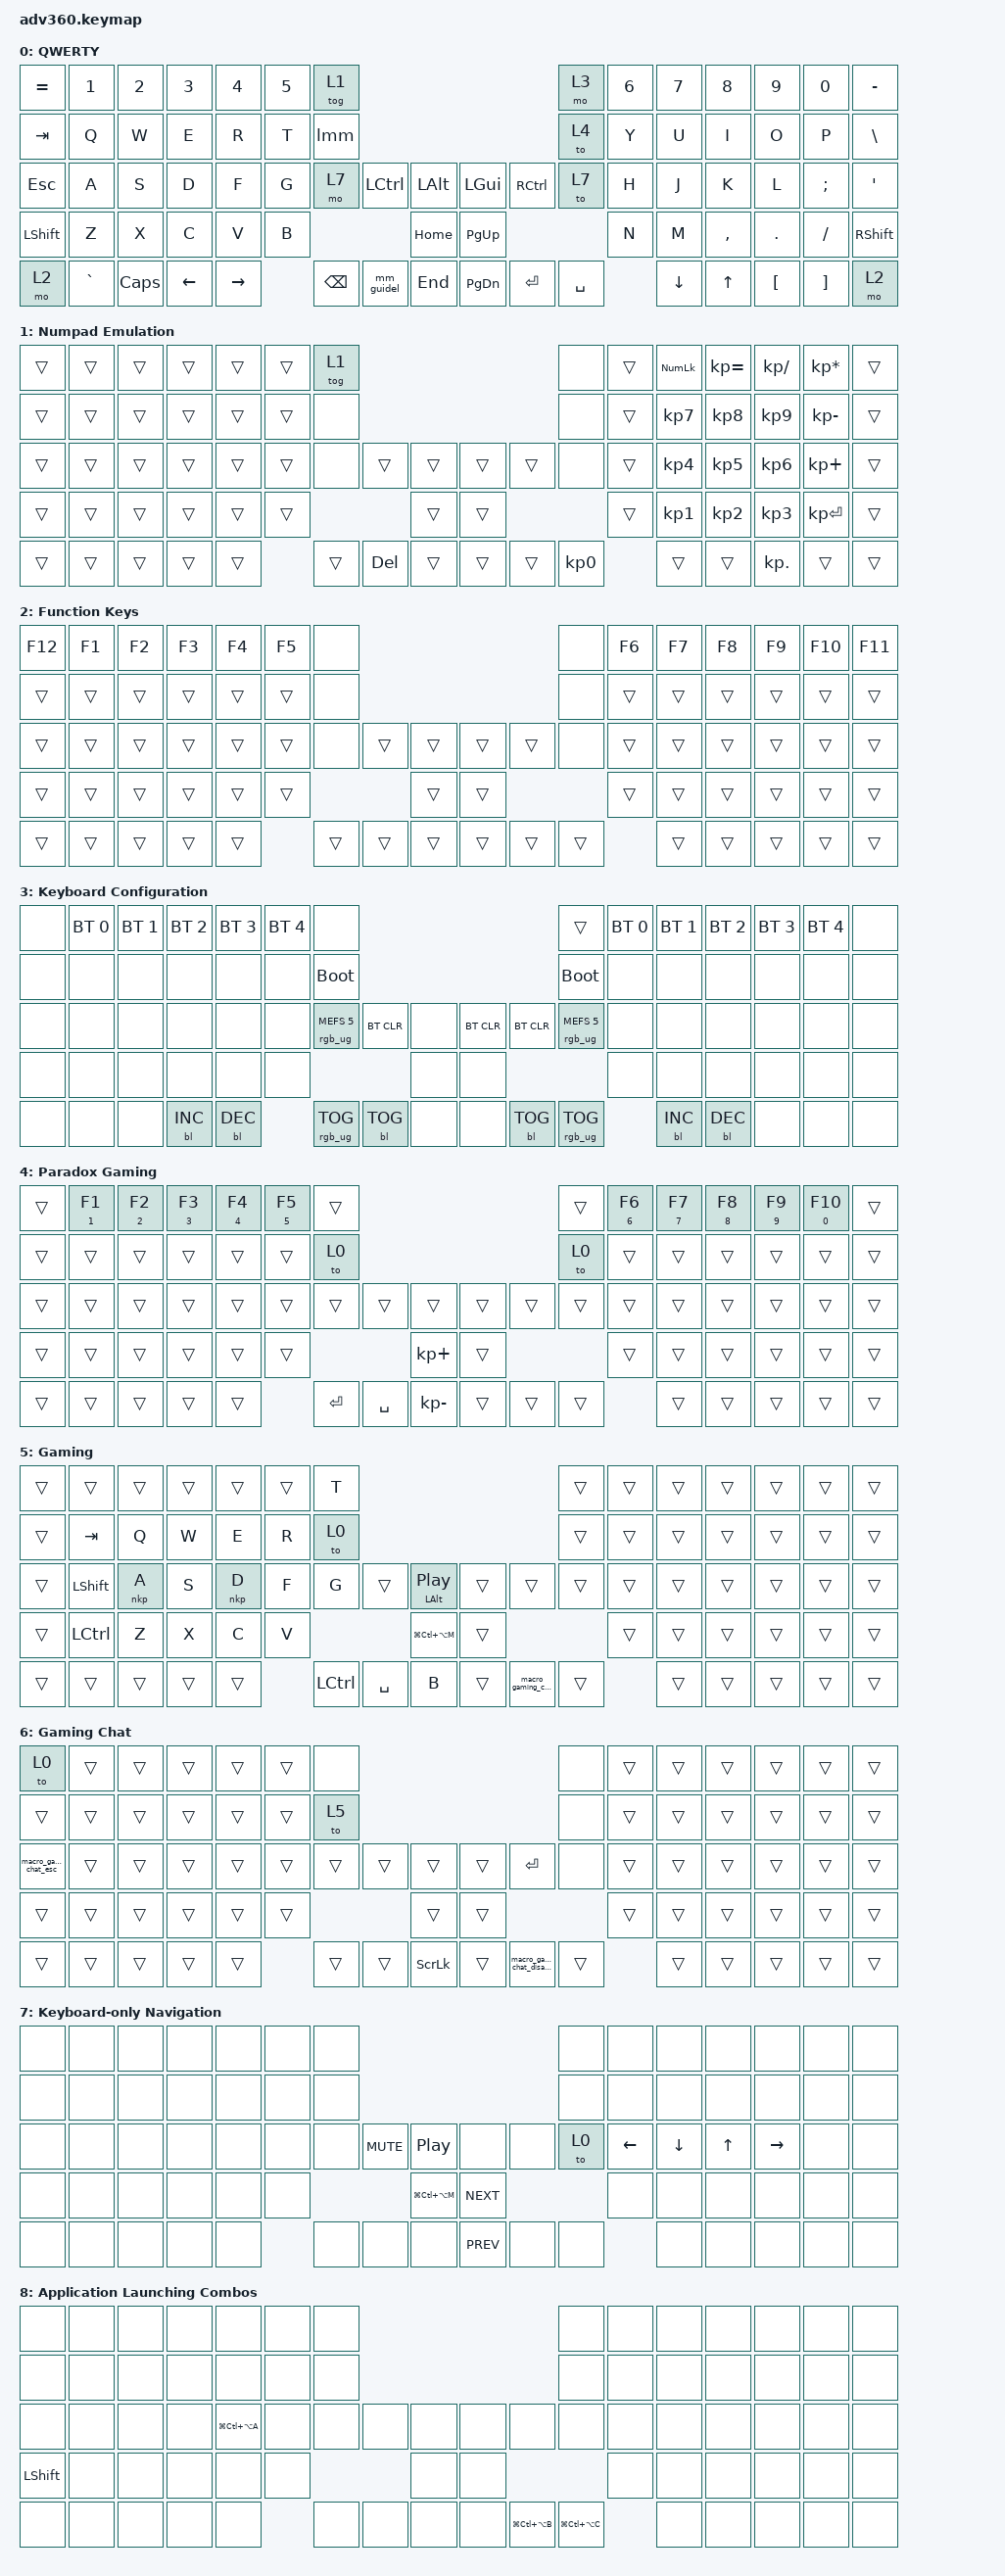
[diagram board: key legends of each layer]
/*
 * Copyright (c) 2020 The ZMK Contributors
 *
 * SPDX-License-Identifier: MIT
 */
/* THIS FILE WAS GENERATED!
 *
 * This file was generated automatically. You may or may not want to
 * edit it directly.
 */

#include <behaviors/non_overlap.dtsi>
#include <behaviors.dtsi>
#include <dt-bindings/zmk/backlight.h>
#include <dt-bindings/zmk/bt.h>
#include <dt-bindings/zmk/keys.h>
#include <dt-bindings/zmk/rgb.h>
#include "keypos_adv360.h"

/ {
    behaviors {
        hml: homerow_mods_left {
            compatible = "zmk,behavior-hold-tap";
            label = "HOMEROW_MODS_LEFT";
            #binding-cells = <2>;
            tapping-term-ms = <250>;
            quick_tap_ms = <175>;
            require-prior-idle-ms = <150>;
            flavor = "balanced";
            bindings = <&kp>, <&kp>;

            hold-trigger-on-release;
            hold-trigger-key-positions = <KEYS_R THUMBS_R>;
        };

        ht: hold_tap {
            compatible = "zmk,behavior-hold-tap";
            label = "HOLD_TAP";
            #binding-cells = <2>;
            tapping-term-ms = <100>;
            flavor = "tap-preferred";
            bindings = <&kp>, <&kp>;
        };

        lmm: gaming_layers_mod_morph {
            compatible = "zmk,behavior-mod-morph";
            #binding-cells = <0>;
            bindings = <&to 5>, <&to 4>;

            mods = <MOD_LSFT>;
        };

        tlmm: thumb_layer_mod_morph {
            compatible = "zmk,behavior-mod-morph";
            #binding-cells = <0>;
            bindings = <&sk LG(LC(LALT))>, <&kp DEL>;

            mods = <MOD_LSFT>;
        };

        mm_guidel: mm_guidel {
            compatible = "zmk,behavior-mod-morph";
            label = "MM_GUIDEL";
            bindings = <&kp LEFT_GUI>, <&kp DEL>;

            #binding-cells = <0>;
            mods = <(MOD_LSFT)>;
        };
    };

    combos {
        compatible = "zmk,combos";

        combo_ctrl_bspc {
            timeout-ms = <50>;
            key-positions = <31 65>;
            layers = <0 6>;
            bindings = <&kp LC(BSPC)>;
        };

        combo_media_play_pause {
            timeout-ms = <50>;
            key-positions = <36 67>;
            bindings = <&kp C_PP>;
        };

        combo_f13 {
            timeout-ms = <70>;
            key-positions = <36 52>;
            bindings = <&kp F13>;
        };
    };

    macros {
        macro_gaming_chat: macro_gaming_chat {
            compatible = "zmk,behavior-macro";
            label = "macro_gaming_chat";
            #binding-cells = <0>;
            bindings = <&macro_tap>, <&kp RETURN &to 6>;
        };

        macro_gaming_chat_disable: macro_gaming_chat_disable {
            compatible = "zmk,behavior-macro";
            label = "macro_gaming_chat_disable";
            #binding-cells = <0>;
            bindings = <&macro_tap>, <&kp RETURN &to 5>;
        };

        macro_gaming_chat_esc: macro_gaming_chat_esc {
            compatible = "zmk,behavior-macro";
            label = "macro_gaming_chat_esc";
            #binding-cells = <0>;
            bindings = <&macro_tap>, <&kp ESC &to 5>;
        };
    };

    keymap {
        compatible = "zmk,keymap";

        default_layer {
            bindings = <
&kp EQUAL  &kp N1     &kp N2    &kp N3    &kp N4     &kp N5  &tog 1                                                    &mo 3      &kp N6  &kp N7    &kp N8     &kp N9    &kp N0    &kp MINUS
&kp TAB    &kp Q      &kp W     &kp E     &kp R      &kp T   &lmm                                                      &to 4      &kp Y   &kp U     &kp I      &kp O     &kp P     &kp BSLH
&kp ESC    &kp A      &kp S     &kp D     &kp F      &kp G   &mo 7     &kp LCTRL   &kp LALT      &kp LGUI   &kp RCTRL  &to 7      &kp H   &kp J     &kp K      &kp L     &kp SEMI  &kp SQT
&kp LSHFT  &kp Z      &kp X     &kp C     &kp V      &kp B                         &kp HOME      &kp PG_UP                        &kp N   &kp M     &kp COMMA  &kp DOT   &kp FSLH  &kp RSHFT
&mo 2      &kp GRAVE  &kp CAPS  &kp LEFT  &kp RIGHT          &kp BSPC  &mm_guidel  &kp END       &kp PG_DN  &kp ENTER  &kp SPACE          &kp DOWN  &kp UP     &kp LBKT  &kp RBKT  &mo 2
            >;

            label = "QWERTY";
        };

        layer_keypad {
            bindings = <
&trans  &trans  &trans  &trans  &trans  &trans  &tog 1                                       &none      &trans  &kp KP_NUM  &kp KP_EQUAL  &kp KP_DIVIDE  &kp KP_MULTIPLY  &trans
&trans  &trans  &trans  &trans  &trans  &trans  &none                                        &none      &trans  &kp KP_N7   &kp KP_N8     &kp KP_N9      &kp KP_MINUS     &trans
&trans  &trans  &trans  &trans  &trans  &trans  &none   &trans   &trans      &trans  &trans  &none      &trans  &kp KP_N4   &kp KP_N5     &kp KP_N6      &kp KP_PLUS      &trans
&trans  &trans  &trans  &trans  &trans  &trans                   &trans      &trans                     &trans  &kp KP_N1   &kp KP_N2     &kp KP_N3      &kp KP_ENTER     &trans
&trans  &trans  &trans  &trans  &trans          &trans  &kp DEL  &trans      &trans  &trans  &kp KP_N0          &trans      &trans        &kp KP_DOT     &trans           &trans
            >;

            label = "Numpad Emulation";
        };

        layer_fn {
            bindings = <
&kp F12  &kp F1  &kp F2  &kp F3  &kp F4  &kp F5  &none                                       &none   &kp F6  &kp F7  &kp F8  &kp F9  &kp F10  &kp F11
&trans   &trans  &trans  &trans  &trans  &trans  &none                                       &none   &trans  &trans  &trans  &trans  &trans   &trans
&trans   &trans  &trans  &trans  &trans  &trans  &none   &trans  &trans      &trans  &trans  &none   &trans  &trans  &trans  &trans  &trans   &trans
&trans   &trans  &trans  &trans  &trans  &trans                  &trans      &trans                  &trans  &trans  &trans  &trans  &trans   &trans
&trans   &trans  &trans  &trans  &trans          &trans  &trans  &trans      &trans  &trans  &trans          &trans  &trans  &trans  &trans   &trans
            >;

            label = "Function Keys";
        };

        layer_mod {
            bindings = <
&none  &bt BT_SEL 0  &bt BT_SEL 1  &bt BT_SEL 2  &bt BT_SEL 3  &bt BT_SEL 4  &none                                                                  &trans                  &bt BT_SEL 0  &bt BT_SEL 1  &bt BT_SEL 2  &bt BT_SEL 3  &bt BT_SEL 4  &none
&none  &none         &none         &none         &none         &none         &bootloader                                                            &bootloader             &none         &none         &none         &none         &none         &none
&none  &none         &none         &none         &none         &none         &rgb_ug RGB_MEFS_CMD 5  &bt BT_CLR  &none      &bt BT_CLR  &bt BT_CLR  &rgb_ug RGB_MEFS_CMD 5  &none         &none         &none         &none         &none         &none
&none  &none         &none         &none         &none         &none                                             &none      &none                                           &none         &none         &none         &none         &none         &none
&none  &none         &none         &bl BL_INC    &bl BL_DEC                  &rgb_ug RGB_TOG         &bl BL_TOG  &none      &none       &bl BL_TOG  &rgb_ug RGB_TOG                       &bl BL_INC    &bl BL_DEC    &none         &none         &none
            >;

            label = "Keyboard Configuration";
        };

        layer_PDX {
            bindings = <
&trans  &ht NUMBER_1 F1  &ht NUMBER_2 F2  &ht NUMBER_3 F3  &ht NUMBER_4 F4  &ht NUMBER_5 F5  &trans                                                  &trans  &ht NUMBER_6 F6  &ht NUMBER_7 F7  &ht NUMBER_8 F8  &ht NUMBER_9 F9  &ht NUMBER_0 F10  &trans
&trans  &trans           &trans           &trans           &trans           &trans           &to 0                                                   &to 0   &trans           &trans           &trans           &trans           &trans            &trans
&trans  &trans           &trans           &trans           &trans           &trans           &trans     &trans     &trans            &trans  &trans  &trans  &trans           &trans           &trans           &trans           &trans            &trans
&trans  &trans           &trans           &trans           &trans           &trans                                 &kp KP_PLUS       &trans                  &trans           &trans           &trans           &trans           &trans            &trans
&trans  &trans           &trans           &trans           &trans                            &kp ENTER  &kp SPACE  &kp KP_MINUS      &trans  &trans  &trans                   &trans           &trans           &trans           &trans            &trans
            >;

            label = "Paradox Gaming";
        };

        layer_gaming {
            bindings = <
&trans  &trans      &trans  &trans  &trans  &trans  &kp T                                                                    &trans  &trans  &trans  &trans  &trans  &trans  &trans
&trans  &kp TAB     &kp Q   &kp W   &kp E   &kp R   &to 0                                                                    &trans  &trans  &trans  &trans  &trans  &trans  &trans
&trans  &kp LSHIFT  &nkp A  &kp S   &nkp D  &kp F   &kp G      &trans     &ht LALT C_PP          &trans  &trans              &trans  &trans  &trans  &trans  &trans  &trans  &trans
&trans  &kp LCTRL   &kp Z   &kp X   &kp C   &kp V                         &kp LG(LC(LA(M)))      &trans                              &trans  &trans  &trans  &trans  &trans  &trans
&trans  &trans      &trans  &trans  &trans          &kp LCTRL  &kp SPACE  &kp B                  &trans  &macro_gaming_chat  &trans          &trans  &trans  &trans  &trans  &trans
            >;

            label = "Gaming";
        };

        layer_gaming_chat {
            bindings = <
&to 0                   &trans  &trans  &trans  &trans  &trans  &none                                                                   &none   &trans  &trans  &trans  &trans  &trans  &trans
&trans                  &trans  &trans  &trans  &trans  &trans  &to 5                                                                   &none   &trans  &trans  &trans  &trans  &trans  &trans
&macro_gaming_chat_esc  &trans  &trans  &trans  &trans  &trans  &trans  &trans  &trans              &trans  &kp ENTER                   &none   &trans  &trans  &trans  &trans  &trans  &trans
&trans                  &trans  &trans  &trans  &trans  &trans                  &trans              &trans                                      &trans  &trans  &trans  &trans  &trans  &trans
&trans                  &trans  &trans  &trans  &trans          &trans  &trans  &kp SCROLLLOCK      &trans  &macro_gaming_chat_disable  &trans          &trans  &trans  &trans  &trans  &trans
            >;

            label = "Gaming Chat";
        };

        layer_navigation {
            bindings = <
&none  &none  &none  &none  &none  &none  &none                                                        &none  &none     &none     &none   &none      &none  &none
&none  &none  &none  &none  &none  &none  &none                                                        &none  &none     &none     &none   &none      &none  &none
&none  &none  &none  &none  &none  &none  &none  &kp C_MUTE  &kp C_PP               &none       &none  &to 0  &kp LEFT  &kp DOWN  &kp UP  &kp RIGHT  &none  &none
&none  &none  &none  &none  &none  &none                     &kp LG(LC(LA(M)))      &kp C_NEXT                &none     &none     &none   &none      &none  &none
&none  &none  &none  &none  &none         &none  &none       &none                  &kp C_PREV  &none  &none            &none     &none   &none      &none  &none
            >;

            label = "Keyboard-only Navigation";
        };

        layer_applications {
            bindings = <
&none      &none  &none  &none  &none              &none  &none                                              &none              &none  &none  &none  &none  &none  &none
&none      &none  &none  &none  &none              &none  &none                                              &none              &none  &none  &none  &none  &none  &none
&none      &none  &none  &none  &kp LG(LC(LA(A)))  &none  &none  &none  &none      &none  &none              &none              &none  &none  &none  &none  &none  &none
&kp LSHFT  &none  &none  &none  &none              &none                &none      &none                                        &none  &none  &none  &none  &none  &none
&none      &none  &none  &none  &none                     &none  &none  &none      &none  &kp LG(LC(LA(B)))  &kp LG(LC(LA(C)))         &none  &none  &none  &none  &none
            >;

            label = "Application Launching Combos";
        };
    };
};
